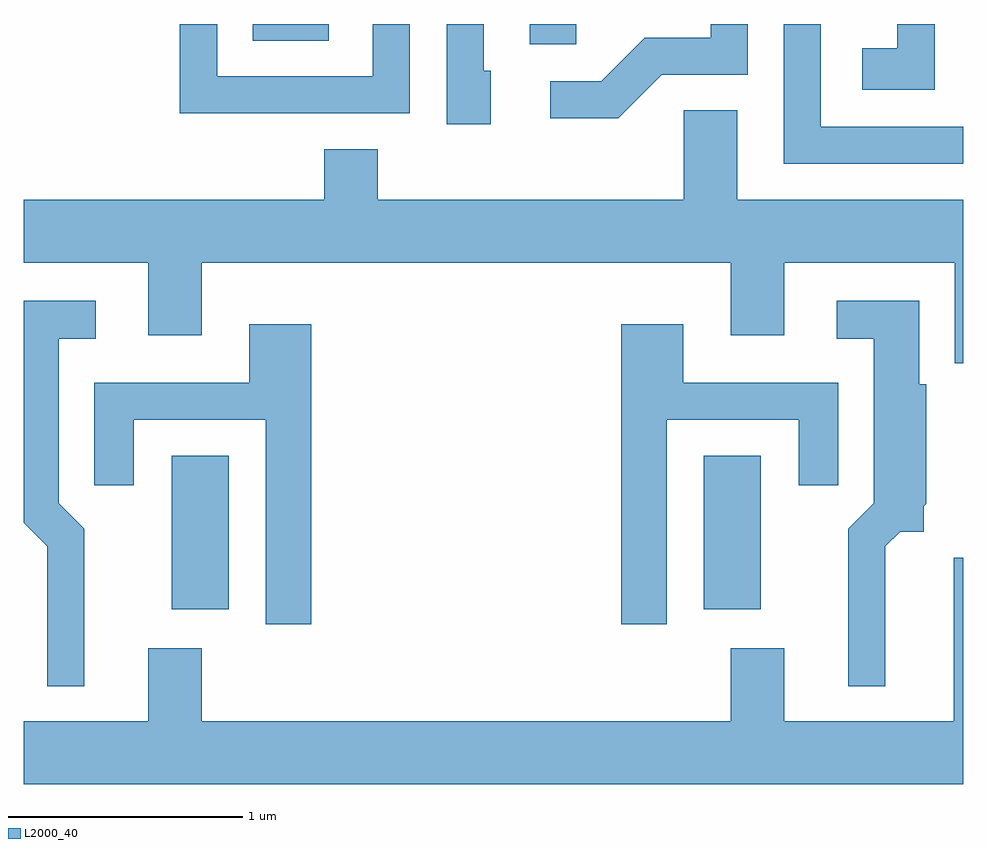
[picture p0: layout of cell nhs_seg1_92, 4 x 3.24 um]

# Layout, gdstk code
import gdstk
lib = gdstk.Library(unit=1e-6, precision=1e-09)
def R(c, l, rs):  # rectangles x0, y0, x1, y1
    for r in rs: c.add(gdstk.rectangle(r[:2], r[2:], *l))
def P(c, l, *ps):  # polygons
    for p in ps: c.add(gdstk.Polygon(p, *l))
L2000_40 = (2000, 40)

nhs_seg1_92 = lib.new_cell('nhs_seg1_92')
R(nhs_seg1_92, L2000_40, [(188.241,889.221,188.484,889.874), (190.506,889.221,190.749,889.874), (189.766,891.626,189.964,891.712), (188.586,891.641,188.909,891.712)])
P(nhs_seg1_92, L2000_40, [(190.327,891.496),(190.694,891.496),(190.694,891.712),(190.536,891.712),(190.536,891.654),(190.254,891.654),(190.069,891.469),(189.853,891.469),(189.853,891.311),(190.142,891.311)],
  [(189.254,891.712),(189.096,891.712),(189.096,891.489),(188.434,891.489),(188.434,891.712),(188.276,891.712),(188.276,891.331),(189.254,891.331)],
  [(189.599,891.514),(189.569,891.514),(189.569,891.712),(189.411,891.712),(189.411,891.286),(189.599,891.286)],
  [(191.611,891.274),(191.004,891.274),(191.004,891.712),(190.846,891.712),(190.846,891.116),(191.611,891.116)],
  [(191.489,891.712),(191.331,891.712),(191.331,891.609),(191.181,891.609),(191.181,891.431),(191.489,891.431)],
  [(191.611,890.964),(190.649,890.964),(190.649,891.344),(190.421,891.344),(190.421,890.964),(189.119,890.964),(189.119,891.179),(188.891,891.179),(188.891,890.964),(187.611,890.964),(187.611,890.696),(188.141,890.696),(188.141,890.386),(188.369,890.386),(188.369,890.696),(190.621,890.696),(190.621,890.386),(190.849,890.386),(190.849,890.696),(191.576,890.696),(191.576,890.268),(191.611,890.268)],
  [(187.869,889.562),(187.759,889.672),(187.759,890.371),(187.918,890.371),(187.918,890.534),(187.611,890.534),(187.611,889.589),(187.711,889.489),(187.711,888.893),(187.869,888.893)],
  [(191.279,889.489),(191.342,889.551),(191.444,889.551),(191.444,889.659),(191.454,889.669),(191.454,890.179),(191.424,890.179),(191.424,890.534),(191.073,890.534),(191.073,890.371),(191.231,890.371),(191.231,889.672),(191.121,889.562),(191.121,888.893),(191.279,888.893)],
  [(190.349,890.026),(190.911,890.026),(190.911,889.748),(191.079,889.748),(191.079,890.184),(190.419,890.184),(190.419,890.434),(190.156,890.434),(190.156,889.156),(190.349,889.156)],
  [(188.834,890.434),(188.571,890.434),(188.571,890.184),(187.911,890.184),(187.911,889.748),(188.079,889.748),(188.079,890.026),(188.641,890.026),(188.641,889.156),(188.834,889.156)],
  [(191.611,889.439),(191.571,889.439),(191.571,888.744),(190.849,888.744),(190.849,889.054),(190.621,889.054),(190.621,888.744),(188.369,888.744),(188.369,889.054),(188.141,889.054),(188.141,888.744),(187.611,888.744),(187.611,888.476),(191.611,888.476)])

lib.write_gds('nhs_seg1_92.gds')
